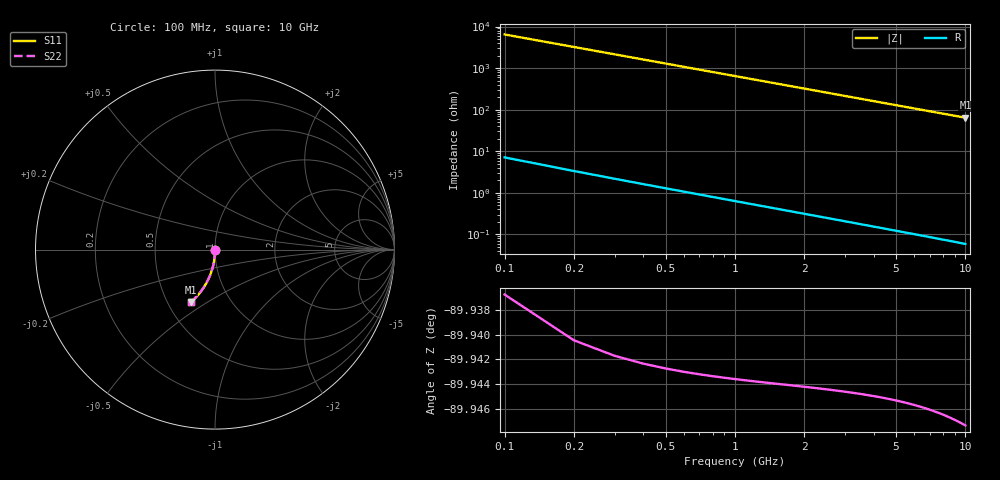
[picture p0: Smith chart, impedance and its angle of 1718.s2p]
# Hz S RI R 50.00
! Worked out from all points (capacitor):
!   100 points, 100 MHz to 10 GHz, reference 50 ohm
!   read as one part in shunt: C = 247 fF near 100 MHz
!   lowest |Z| = 64.4 ohm at 10 GHz (marker M1)
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1e8  0.000137 -0.00337  0.9998 -0.00437  0.9998 -0.00437  0.000137 -0.00337
2e8  8.97e-05 -0.00674  0.9998 -0.00874  0.9998 -0.00874  8.97e-05 -0.00674
3e8  1.3e-05 -0.0101  0.9997 -0.0131  0.9997 -0.0131  1.3e-05 -0.0101
4e8  -9.33e-05 -0.0135  0.9996 -0.0175  0.9996 -0.0175  -9.33e-05 -0.0135
5e8  -0.000229 -0.0169  0.9994 -0.0219  0.9994 -0.0219  -0.000229 -0.0169
6e8  -0.000395 -0.0202  0.9993 -0.0262  0.9993 -0.0262  -0.000395 -0.0202
7e8  -0.00059 -0.0236  0.9991 -0.0306  0.9991 -0.0306  -0.00059 -0.0236
8e8  -0.000814 -0.027  0.9988 -0.035  0.9988 -0.035  -0.000814 -0.027
9e8  -0.00107 -0.0303  0.9986 -0.0393  0.9986 -0.0393  -0.00107 -0.0303
1.1e9  -0.00166 -0.037  0.998 -0.0481  0.998 -0.0481  -0.00166 -0.037
1.4e9  -0.00278 -0.0471  0.9968 -0.0611  0.9968 -0.0611  -0.00278 -0.0471
1.8e9  -0.00468 -0.0605  0.9948 -0.0785  0.9948 -0.0785  -0.00468 -0.0605
2.1e9  -0.0064 -0.0704  0.993 -0.0915  0.993 -0.0915  -0.0064 -0.0704
2.5e9  -0.00911 -0.0836  0.9902 -0.1087  0.9902 -0.1087  -0.00911 -0.0836
2.9e9  -0.0123 -0.0967  0.987 -0.1259  0.987 -0.1259  -0.0123 -0.0967
3.4e9  -0.0169 -0.1129  0.9822 -0.1471  0.9822 -0.1471  -0.0169 -0.1129
4.2e9  -0.0256 -0.1383  0.9731 -0.1805  0.9731 -0.1805  -0.0256 -0.1383
5.1e9  -0.0375 -0.1659  0.9608 -0.2173  0.9608 -0.2173  -0.0375 -0.1659
5.9e9  -0.0498 -0.1894  0.9481 -0.249  0.9481 -0.249  -0.0498 -0.1894
6.7e9  -0.0635 -0.2119  0.9338 -0.2797  0.9338 -0.2797  -0.0635 -0.2119
8.4e9  -0.0971 -0.2556  0.8989 -0.341  0.8989 -0.341  -0.0971 -0.2556
1e10  -0.1331 -0.2911  0.8613 -0.3932  0.8613 -0.3932  -0.1331 -0.2911
